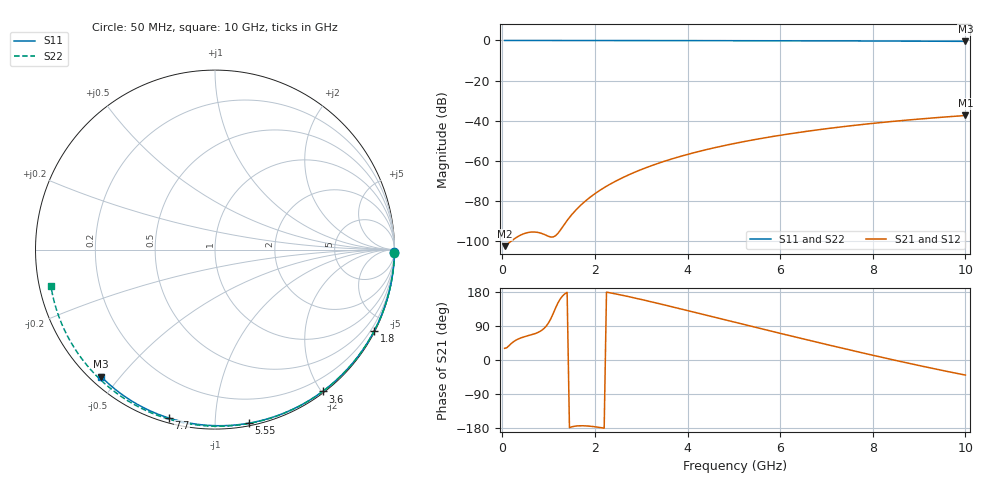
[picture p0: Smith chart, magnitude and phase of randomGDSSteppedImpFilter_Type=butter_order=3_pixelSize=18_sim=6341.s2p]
! freq	dB(S11)	phase(S11)	dB(S12)	phase(S12)
!  dB(S21)	phase(S21)	dB(S22)	phase(S22)
!S-par simulation data
#  GHz  S  DB  R 50
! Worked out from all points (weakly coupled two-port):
!   200 points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, 50 MHz to 10 GHz, reference 50 ohm
!   highest |S21| = -37.39 dB at 10 GHz (marker M1); lowest = -102.5 dB at 50 MHz (marker M2)
!   lowest |S11| = -0.4 dB at 10 GHz (marker M3), VSWR 39.15, Z = 1.53 - j22.3 ohm
!   |S11| at or under -10 dB: nowhere
!   |S22| runs from -0.6 to 0.0 dB; largest |S21 - S12| = 0
!   S11 on the Smith chart (normalised r, x): 50 MHz: open; 1.8 GHz: 0.04, -4.16; 3.6 GHz: 0.02, -2.01; 5.55 GHz: 0.02, -1.22; 7.7 GHz: 0.02, -0.76; 10 GHz: 0.03, -0.45
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0.05  -0.00 -0.8  -102.49 30.8  -102.49 30.8  -0.00 -1.0
0.45  -0.01 -6.9  -96.42 60.4  -96.42 60.4  -0.01 -8.7
0.85  -0.02 -12.9  -96.15 78.2  -96.15 78.2  -0.02 -16.3
1.3  -0.02 -19.6  -92.96 168.8  -92.96 168.8  -0.03 -24.7
1.75  -0.03 -26.3  -80.89 -173.6  -80.89 -173.6  -0.04 -33.1
1.8  -0.03 -27.0  -79.90 -173.8  -79.90 -173.8  -0.04 -34.0
1.95  -0.04 -29.2  -77.18 -175.4  -77.18 -175.4  -0.05 -36.8
2.1  -0.04 -31.4  -74.78 -177.9  -74.78 -177.9  -0.05 -39.5
2.3  -0.04 -34.3  -71.96 177.9  -71.96 177.9  -0.05 -43.2
2.5  -0.05 -37.2  -69.48 173.2  -69.48 173.2  -0.06 -46.8
2.9  -0.06 -43.0  -65.25 162.6  -65.25 162.6  -0.07 -53.9
3.4  -0.07 -50.0  -60.95 148.3  -60.95 148.3  -0.08 -62.7
3.6  -0.07 -52.8  -59.46 142.4  -59.46 142.4  -0.09 -66.2
4.3  -0.09 -62.4  -54.99 121.4  -54.99 121.4  -0.11 -78.0
5.05  -0.11 -72.4  -51.15 98.8  -51.15 98.8  -0.14 -90.3
5.55  -0.13 -78.9  -48.98 83.8  -48.98 83.8  -0.16 -98.3
6.1  -0.15 -85.9  -46.89 67.4  -46.89 67.4  -0.19 -106.9
6.7  -0.18 -93.3  -44.87 49.8  -44.87 49.8  -0.23 -116.2
7.7  -0.24 -105.4  -42.05 21.0  -42.05 21.0  -0.30 -131.4
8.35  -0.29 -113.0  -40.51 2.9  -40.51 2.9  -0.36 -141.3
9.2  -0.36 -122.8  -38.78 -19.8  -38.78 -19.8  -0.46 -154.4
10  -0.44 -131.8  -37.39 -39.8  -37.39 -39.8  -0.57 -167.4
